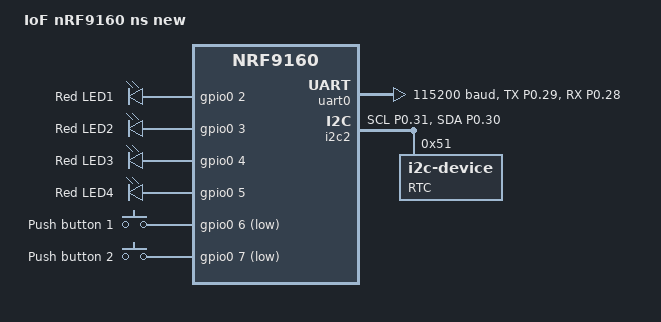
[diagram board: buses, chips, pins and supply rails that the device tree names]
// Copyright (c) 2024 Nordic Semiconductor ASA
// SPDX-License-Identifier: Apache-2.0

/dts-v1/;
#include <nordic/nrf9160ns_sica.dtsi>
// #include "iof_nrf9160_ns_new-pinctrl.dtsi"
/ {
	model = "IoF nRF9160 ns new";
	compatible = "ntnu-cybernetics,iof-nrf9160-ns-new";

	chosen {
		zephyr,sram = &sram0;
		zephyr,flash = &flash0;
		zephyr,code-partition = &slot0_ns_partition;
		zephyr,console = &uart0;
		zephyr,shell-uart = &uart0;
		zephyr,uart-mcumgr = &uart0;
	};

	leds {
		compatible = "gpio-leds";
		led1: led_1 {
			gpios = <&gpio0 2 0>;
			label = "Red LED1";
		};

		led2: led_2 {
			gpios = <&gpio0 3 0>;
			label = "Red LED2";
		};

		led3: led_3 {
			gpios = <&gpio0 4 0>;
			label = "Red LED3";
		};

		led4: led_4 {
			gpios = <&gpio0 5 0>;
			label = "Red LED4";
		};
	};

	buttons {
		compatible = "gpio-keys";
		button1: button_1 {
			gpios = <&gpio0 6 (GPIO_ACTIVE_LOW | GPIO_PULL_UP)>;
			label = "Push button 1";
		};

		button2: button_2 {
			gpios = <&gpio0 7 (GPIO_ACTIVE_LOW | GPIO_PULL_UP)>;
			label = "Push button 2";
		};
	};

	aliases {
		led0 = &led1;
		led1 = &led2;
		led2 = &led3;
		led3 = &led4;
		sw0  = &button1;
		sw1  = &button2;
		bootloader-led0 = &led1;
		mcuboot-button0 = &button1;
		mcuboot-led0 = &led1;
		watchdog0 = &wdt0;
	};
};

&flash0 {
	partitions {
		compatible = "fixed-partitions";
		#address-cells = <1>;
		#size-cells = <1>;

		boot_partition: partition@0 {
			label = "mcuboot";
			reg = <0x0 0x10000>;
		};
		slot0_partition: partition@10000 {
			label = "image-0";
			reg = <0x10000 0x40000>;
		};
		slot0_ns_partition: partition@50000 {
			label = "image-0-nonsecure";
			reg = <0x50000 0x30000>;
		};
		slot1_partition: partition@80000 {
			label = "image-1";
			reg = <0x80000 0x40000>;
		};
		slot1_ns_partition: partition@c0000 {
			label = "image-1-nonsecure";
			reg = <0xc0000 0x30000>;
		};
		scratch_partition: partition@f0000 {
			label = "image-scratch";
			reg = <0xf0000 0xa000>;
		};
		storage_partition: partition@fa000 {
			label = "storage";
			reg = <0xfa000 0x6000>;
		};
	};
};


&gpio0 {
	status = "okay";
};

&gpiote {
	status = "okay";
};


&pinctrl {


	uart0_default: uart0_default {
		group1 {
			psels = <NRF_PSEL(UART_TX, 0, 29)>;
		};
        group2 {
            psels = <NRF_PSEL(UART_RX, 0, 28)>;
        };

	};
	/* required if CONFIG_PM_DEVICE=y */
	uart0_sleep: uart0_sleep {
		group1 {
			psels = <NRF_PSEL(UART_TX, 0, 29)>,
					<NRF_PSEL(UART_RX, 0, 28)>;
			low-power-enable;
		};
	};

	i2c2_default: i2c2_default {
		group1 {
			psels = <NRF_PSEL(TWIM_SCL, 0, 31)>, <NRF_PSEL(TWIM_SDA, 0, 30)>;
		};
	};

	i2c2_sleep: i2c2_sleep {
		group1 {
			psels = <NRF_PSEL(TWIM_SCL, 0, 31)>, 
					<NRF_PSEL(TWIM_SDA, 0, 30)>;
			low-power-enable;
		};
	};
};
&uart0 {
	status = "okay";
	pinctrl-0 = <&uart0_default>;
	pinctrl-1 = <&uart0_sleep>;
	pinctrl-names = "default", "sleep";
	current-speed = <115200>;
	label = "USB Uart debug";

};

&i2c2 {
	status = "okay";
	pinctrl-0 = <&i2c2_default>;
	pinctrl-1 = <&i2c2_sleep>;
	pinctrl-names = "default", "sleep";
	label = "I2C RTC RV3032";

	rv3032: rv3032@51{
        compatible = "i2c-device";
        reg = < 0x51 >;
        label = "RTC";
    };
};
